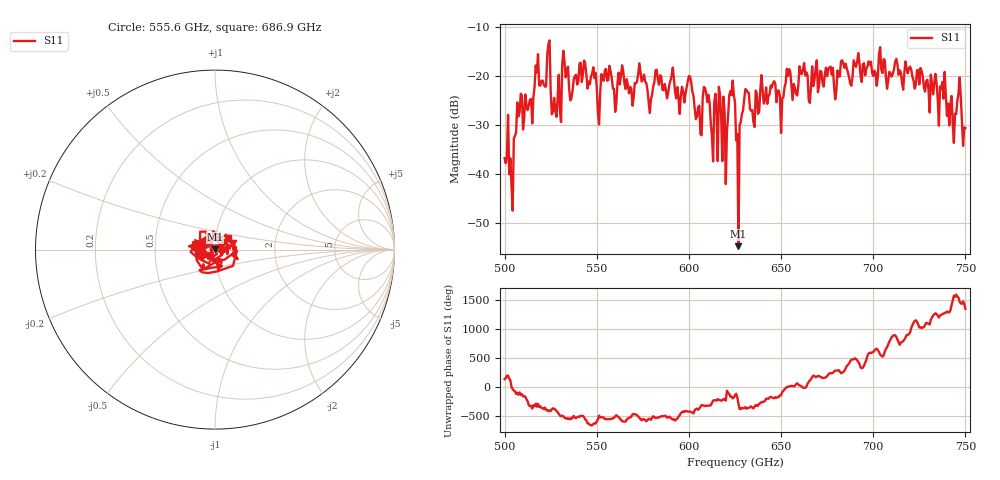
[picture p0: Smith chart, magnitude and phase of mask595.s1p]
!Created with skrf (http://scikit-rf.org).
# GHz S MA R 50.0
!freq magS11 angS11
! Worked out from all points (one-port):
!   401 points, 500 GHz to 750 GHz, reference 50 ohm
!   lowest |S11| = -54.7 dB at 626.9 GHz (marker M1), VSWR 1.00, Z = 50.1 + j0.171 ohm
!   |S11| at or under -10 dB: start of sweep to end of sweep
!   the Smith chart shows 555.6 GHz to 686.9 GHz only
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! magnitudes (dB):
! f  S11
! 500 GHz  -36.7
! 503.8 GHz  -42.4
! 508.1 GHz  -27.4
! 513.8 GHz  -24.7
! 517.5 GHz  -19.2
! 523.8 GHz  -13.4
! 526.9 GHz  -24.4
! 531.2 GHz  -17.6
! 542.5 GHz  -19.5
! 551.2 GHz  -29.8
! 562.5 GHz  -21.7
! 593.8 GHz  -22.2
! 600.6 GHz  -20.1
! 605.6 GHz  -26.0
! 609.4 GHz  -23.5
! 619.4 GHz  -27.4
! 623.1 GHz  -23.9
! 625 GHz  -25.3
! 626.9 GHz  -54.7
! 631.2 GHz  -22.7
! 634.4 GHz  -26.9
! 656.2 GHz  -24.8
! 687.5 GHz  -21.4
! 718.8 GHz  -19.4
! 737.5 GHz  -21.1
! 742.5 GHz  -24.0
! 746.2 GHz  -23.5
! 750 GHz  -30.6
